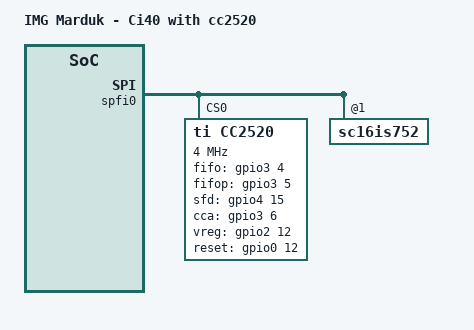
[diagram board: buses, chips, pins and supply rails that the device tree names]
/*
 * Copyright (C) 2015 Imagination Technologies Ltd.
 * Copyright (C) 2015 Google, Inc.
 *
 * This program is free software; you can redistribute it and/or modify
 * it under the terms of the GNU General Public License version 2 as
 * published by the Free Software Foundation.
 */

/dts-v1/;

#include "pistachio_marduk_common.dtsi"

/ {
	model = "IMG Marduk - Ci40 with cc2520";
};

&spfi0 {
	cc2520: cc2520@0 {
		compatible = "ti,cc2520";
		reg = <0>;
		spi-max-frequency = <4000000>;
		fifo-gpio = <&gpio3 4 GPIO_ACTIVE_HIGH>;
		fifop-gpio = <&gpio3 5 GPIO_ACTIVE_HIGH>;
		sfd-gpio = <&gpio4 15 GPIO_ACTIVE_HIGH>;
		cca-gpio = <&gpio3 6 GPIO_ACTIVE_HIGH>;
		vreg-gpio = <&gpio2 12 GPIO_ACTIVE_HIGH>;
		reset-gpio = <&gpio0 12 GPIO_ACTIVE_HIGH>;
		#clock-cells = <0>;
		extclock-freq = <16000000>;
	};

	sc16is752: sc16is752@1 {
		clocks = <&cc2520 0>;
	};
};
